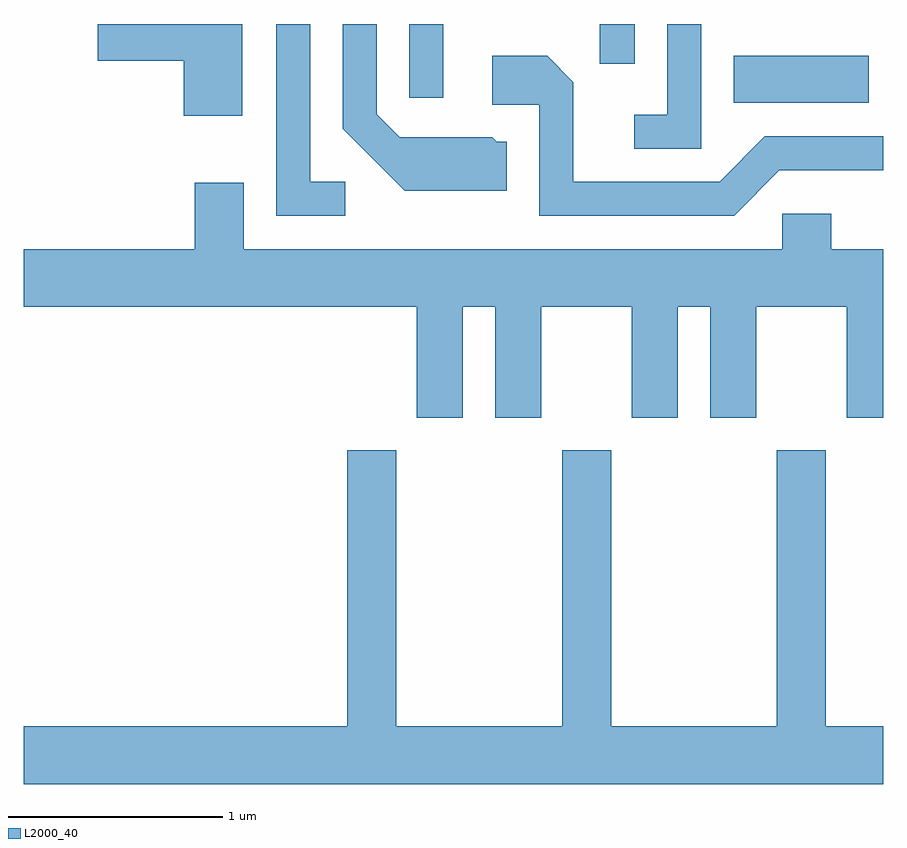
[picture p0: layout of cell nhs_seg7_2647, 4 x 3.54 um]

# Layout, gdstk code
import gdstk
lib = gdstk.Library(unit=1e-6, precision=1e-09)
def R(c, l, rs):  # rectangles x0, y0, x1, y1
    for r in rs: c.add(gdstk.rectangle(r[:2], r[2:], *l))
def P(c, l, *ps):  # polygons
    for p in ps: c.add(gdstk.Polygon(p, *l))
L2000_40 = (2000, 40)

nhs_seg7_2647 = lib.new_cell('nhs_seg7_2647')
R(nhs_seg7_2647, L2000_40, [(268.916,1761.886,269.544,1762.104), (267.406,1761.908,267.564,1762.252), (268.291,1762.068,268.454,1762.252)])
P(nhs_seg7_2647, L2000_40, [(266.629,1762.252),(265.956,1762.252),(265.956,1762.081),(266.356,1762.081),(266.356,1761.826),(266.629,1761.826)],
  [(267.859,1761.704),(267.812,1761.704),(267.792,1761.724),(267.362,1761.724),(267.254,1761.832),(267.254,1762.252),(267.096,1762.252),(267.096,1761.764),(267.384,1761.476),(267.859,1761.476)],
  [(267.108,1761.519),(266.944,1761.519),(266.944,1762.252),(266.786,1762.252),(266.786,1761.361),(267.108,1761.361)],
  [(268.764,1762.252),(268.606,1762.252),(268.606,1761.829),(268.453,1761.829),(268.453,1761.671),(268.764,1761.671)],
  [(269.127,1761.571),(269.611,1761.571),(269.611,1761.729),(269.059,1761.729),(268.849,1761.519),(268.169,1761.519),(268.169,1761.982),(268.047,1762.104),(267.791,1762.104),(267.791,1761.876),(268.011,1761.876),(268.011,1761.361),(268.917,1761.361)],
  [(267.654,1760.936),(267.806,1760.936),(267.806,1760.421),(268.019,1760.421),(268.019,1760.936),(268.441,1760.936),(268.441,1760.421),(268.654,1760.421),(268.654,1760.936),(268.806,1760.936),(268.806,1760.421),(269.019,1760.421),(269.019,1760.936),(269.441,1760.936),(269.441,1760.421),(269.611,1760.421),(269.611,1761.204),(269.369,1761.204),(269.369,1761.369),(269.141,1761.369),(269.141,1761.204),(266.634,1761.204),(266.634,1761.514),(266.406,1761.514),(266.406,1761.204),(265.611,1761.204),(265.611,1760.936),(267.441,1760.936),(267.441,1760.421),(267.654,1760.421)],
  [(269.611,1758.984),(269.344,1758.984),(269.344,1760.269),(269.116,1760.269),(269.116,1758.984),(268.344,1758.984),(268.344,1760.269),(268.116,1760.269),(268.116,1758.984),(267.344,1758.984),(267.344,1760.269),(267.116,1760.269),(267.116,1758.984),(265.611,1758.984),(265.611,1758.716),(269.611,1758.716)])

lib.write_gds('nhs_seg7_2647.gds')
